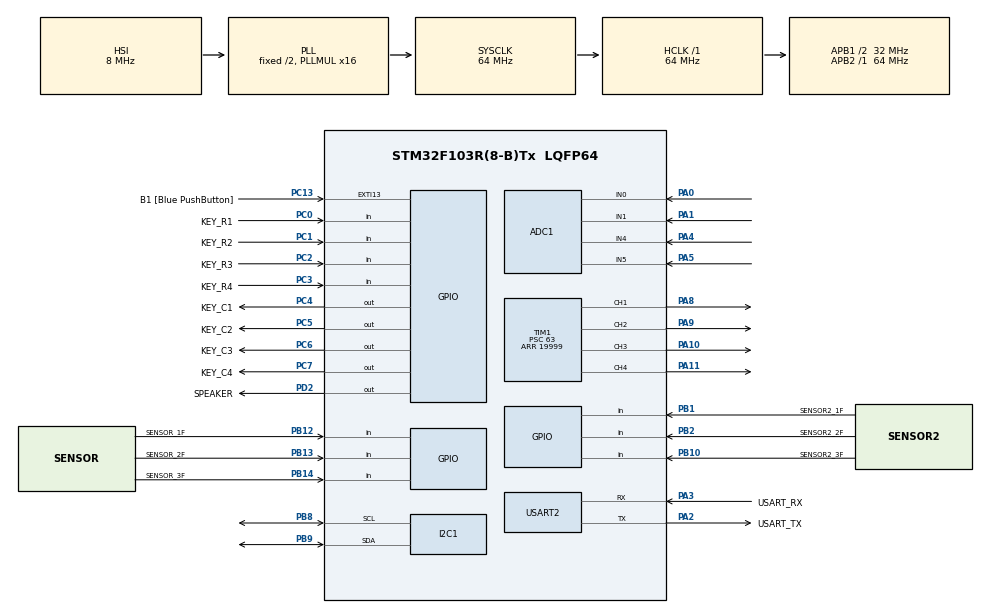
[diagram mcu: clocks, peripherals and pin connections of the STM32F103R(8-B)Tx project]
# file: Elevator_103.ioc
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ADC1.Channel-0\#ChannelRegularConversion=ADC_CHANNEL_0
ADC1.ContinuousConvMode=DISABLE
ADC1.NbrOfConversion=1
ADC1.NbrOfConversionFlag=1
ADC1.Rank-0\#ChannelRegularConversion=1
ADC1.SamplingTime-0\#ChannelRegularConversion=ADC_SAMPLETIME_1CYCLE_5
ADC1.master=1
Mcu.Family=STM32F1
Mcu.Name=STM32F103R(8-B)Tx
Mcu.Package=LQFP64
NVIC.EXTI15_10_IRQn=true\:0\:0\:false\:false\:true\:true\:true\:true
NVIC.PriorityGroup=NVIC_PRIORITYGROUP_4
PA0-WKUP.Signal=ADCx_IN0
PA1.Signal=ADCx_IN1
PA10.Signal=S_TIM1_CH3
PA11.Signal=S_TIM1_CH4
PA13.GPIO_Label=TMS
PA13.Mode=Serial_Wire
PA13.Signal=SYS_JTMS-SWDIO
PA14.GPIO_Label=TCK
PA14.Mode=Serial_Wire
PA14.Signal=SYS_JTCK-SWCLK
PA2.GPIO_Label=USART_TX
PA2.GPIO_Mode=GPIO_MODE_AF_PP
PA2.GPIO_PuPd=GPIO_NOPULL
PA2.GPIO_Speed=GPIO_SPEED_FREQ_LOW
PA2.Mode=Asynchronous
PA2.Signal=USART2_TX
PA3.GPIO_Label=USART_RX
PA3.GPIO_Mode=GPIO_MODE_AF_PP
PA3.GPIO_PuPd=GPIO_NOPULL
PA3.GPIO_Speed=GPIO_SPEED_FREQ_LOW
PA3.Mode=Asynchronous
PA3.Signal=USART2_RX
PA4.Signal=ADCx_IN4
PA5.Signal=ADCx_IN5
PA8.Signal=S_TIM1_CH1
PA9.Signal=S_TIM1_CH2
PB1.GPIO_Label=SENSOR2_1F
PB1.GPIO_PuPd=GPIO_PULLUP
PB1.Signal=GPIO_Input
PB10.GPIO_Label=SENSOR2_3F
PB10.GPIO_PuPd=GPIO_PULLUP
PB10.Signal=GPIO_Input
PB12.GPIO_Label=SENSOR_1F
PB12.GPIO_PuPd=GPIO_PULLUP
PB12.Signal=GPIO_Input
PB13.GPIO_Label=SENSOR_2F
PB13.GPIO_PuPd=GPIO_PULLUP
PB13.Signal=GPIO_Input
PB14.GPIO_Label=SENSOR_3F
PB14.GPIO_PuPd=GPIO_PULLUP
PB14.Signal=GPIO_Input
PB2.GPIO_Label=SENSOR2_2F
PB2.GPIO_PuPd=GPIO_PULLUP
PB2.Signal=GPIO_Input
PB3.GPIO_Label=SWO
PB3.Signal=SYS_JTDO-TRACESWO
PB8.Mode=I2C
PB8.Signal=I2C1_SCL
PB9.Mode=I2C
PB9.Signal=I2C1_SDA
PC0.GPIO_Label=KEY_R1
PC0.GPIO_PuPd=GPIO_PULLUP
PC0.Signal=GPIO_Input
PC1.GPIO_Label=KEY_R2
PC1.GPIO_PuPd=GPIO_PULLUP
PC1.Signal=GPIO_Input
PC13-TAMPER-RTC.GPIO_Label=B1 [Blue PushButton]
PC13-TAMPER-RTC.GPIO_PuPd=GPIO_NOPULL
PC13-TAMPER-RTC.Signal=GPXTI13
PC14-OSC32_IN.Mode=LSE-External-Oscillator
PC14-OSC32_IN.Signal=RCC_OSC32_IN
PC15-OSC32_OUT.Mode=LSE-External-Oscillator
PC15-OSC32_OUT.Signal=RCC_OSC32_OUT
PC2.GPIO_Label=KEY_R3
PC2.GPIO_PuPd=GPIO_PULLUP
PC2.Signal=GPIO_Input
PC3.GPIO_Label=KEY_R4
PC3.GPIO_PuPd=GPIO_PULLUP
PC3.Signal=GPIO_Input
PC4.GPIO_Label=KEY_C1
PC4.Signal=GPIO_Output
PC5.GPIO_Label=KEY_C2
PC5.Signal=GPIO_Output
PC6.GPIO_Label=KEY_C3
PC6.Signal=GPIO_Output
PC7.GPIO_Label=KEY_C4
PC7.Signal=GPIO_Output
PD0-OSC_IN.Mode=HSE-External-Clock-Source
PD0-OSC_IN.Signal=RCC_OSC_IN
PD1-OSC_OUT.Mode=HSE-External-Clock-Source
PD1-OSC_OUT.Signal=RCC_OSC_OUT
PD2.GPIO_Label=SPEAKER
PD2.Signal=GPIO_Output
ProjectManager.HeapSize=0x200
ProjectManager.StackSize=0x400
ProjectManager.TargetToolchain=STM32CubeIDE
RCC.ADCPresc=RCC_ADCPCLK2_DIV8
RCC.AHBFreq_Value=64000000
RCC.APB1CLKDivider=RCC_HCLK_DIV2
RCC.APB1Freq_Value=32000000
RCC.APB1TimFreq_Value=64000000
RCC.APB2Freq_Value=64000000
RCC.APB2TimFreq_Value=64000000
RCC.HCLKFreq_Value=64000000
RCC.PLLMUL=RCC_PLL_MUL16
RCC.RTCClockSelection=RCC_RTCCLKSOURCE_LSE
RCC.SYSCLKFreq_VALUE=64000000
RCC.SYSCLKSource=RCC_SYSCLKSOURCE_PLLCLK
RCC.USBFreq_Value=64000000
SH.ADCx_IN0.0=ADC1_IN0,IN0
SH.ADCx_IN1.0=ADC1_IN1,IN1
SH.ADCx_IN4.0=ADC1_IN4,IN4
SH.ADCx_IN5.0=ADC1_IN5,IN5
SH.S_TIM1_CH1.0=TIM1_CH1,PWM Generation1 CH1
SH.S_TIM1_CH2.0=TIM1_CH2,PWM Generation2 CH2
SH.S_TIM1_CH3.0=TIM1_CH3,PWM Generation3 CH3
SH.S_TIM1_CH4.0=TIM1_CH4,PWM Generation4 CH4
TIM1.Channel-PWM\ Generation1\ CH1=TIM_CHANNEL_1
TIM1.Channel-PWM\ Generation2\ CH2=TIM_CHANNEL_2
TIM1.Channel-PWM\ Generation3\ CH3=TIM_CHANNEL_3
TIM1.Channel-PWM\ Generation4\ CH4=TIM_CHANNEL_4
TIM1.Period=19999
TIM1.Prescaler=63
USART2.VirtualMode=VM_ASYNC
VP_TIM1_VS_ClockSourceINT.Mode=Internal
board=NUCLEO-F103RB

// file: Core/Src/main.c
/* USER CODE BEGIN Header */
/**
  ******************************************************************************
  * @file           : main.c
  * @brief          : Elevator System with LCD & Overload Protection (F103RB)
  ******************************************************************************
  */
/* USER CODE END Header */
#include "main.h"

/* USER CODE BEGIN Includes */
#include <string.h>
#include <stdio.h>
#include <stdbool.h>
#include <stdlib.h>
/* USER CODE END Includes */

/* USER CODE BEGIN PTD */
typedef enum {
    STATE_IDLE,
    STATE_MOVE_UP,
    STATE_MOVE_DOWN,
    STATE_DOOR_OPEN,
    STATE_DOOR_CLOSE
} ElevatorState_t;

// 엘리베이터 구조체 정의
typedef struct {
    int cur_floor;
    int current_dir;
    ElevatorState_t state;
    uint32_t door_open_time;
    uint32_t fsrValue;          // 과적 센서 (바닥)
    uint32_t doorPressure;      // 문 압력 센서
    bool is_overloaded;
    bool door_blocked;          // 문에 장애물 감지
    bool is_A;                  // true = A호기, false = B호기

    // 요청 배열
    int Call_Up[4];      // MAX_FLOOR + 1
    int Call_Down[4];
    int Call_In[4];

    // 디버그용 (실제 PWM 값)
    uint16_t motor_ccr;     // 현재 모터 PWM 값 (1360~1550)
    uint16_t servo_ccr;     // 현재 서보 PWM 값 (500~1500)
    int sensed_floor;       // 현재 감지된 층 (0=없음, 1~3=층)
    int target_floor;       // 목표 층
} Elevator_t;
/* USER CODE END PTD */

/* USER CODE BEGIN PD */
// --- LCD 설정 ---
#define LCD_ADDR (0x27 << 1) // I2C 주소 (안되면 0x3F << 1 로 변경)

// --- 과적 설정 ---
#define OVERLOAD_THRESHOLD 1000 // 0~4095 중 이 값 넘으면 과적 (조절 필요)
#define DOOR_PRESSURE_THRESHOLD 10 // 문 압력 임계값 (손가락 끼임 감지)

// --- A호기 센서 핀 (PB12, 13, 14) ---
#define SENSOR_1F_Pin GPIO_PIN_12
#define SENSOR_1F_GPIO_Port GPIOB
#define SENSOR_2F_Pin GPIO_PIN_13
#define SENSOR_2F_GPIO_Port GPIOB
#define SENSOR_3F_Pin GPIO_PIN_14
#define SENSOR_3F_GPIO_Port GPIOB

// --- B호기 센서 핀 (PB1, 2, 10) ---
#define SENSOR2_1F_Pin GPIO_PIN_1
#define SENSOR2_1F_GPIO_Port GPIOB
#define SENSOR2_2F_Pin GPIO_PIN_2
#define SENSOR2_2F_GPIO_Port GPIOB
#define SENSOR2_3F_Pin GPIO_PIN_10
#define SENSOR2_3F_GPIO_Port GPIOB

// --- 음계 ---
const int C4=262, G4=392, C5=523, E5=659, G5=784, C6=1047;

// --- 상수 ---
#define MAX_FLOOR 3
#define UP 1
#define DOWN -1
#define STOP 0
#define DOOR_WAIT_TIME 5000

// --- PWM (TIM1) ---
#define SERVO_0_DEG    1500    // 문 닫힘
#define SERVO_90_DEG   500     // 문 열림
#define SERVO_STEP     10      // 부드러운 이동을 위한 스텝 크기
#define SERVO_DELAY    20      // 각 스텝 사이 딜레이 (ms)
// --- 엘리베이터 모터 PWM 설정 (TIM1 Channel 1) ---
#define MOTOR_SPEED_UP   1550  // 상승 속도 (1500(slow)~2300(fast))
#define MOTOR_SPEED_DOWN 1400  // 하강 속도 (700(fast)~1500(slow))
#define MOTOR_STOP       1480     // 정지
/* USER CODE END PD */

ADC_HandleTypeDef hadc1;

I2C_HandleTypeDef hi2c1;

TIM_HandleTypeDef htim1;

UART_HandleTypeDef huart2;

/* USER CODE BEGIN PV */
// 엘리베이터 인스턴스
Elevator_t elevator_A;
Elevator_t elevator_B;
/* USER CODE END PV */

void SystemClock_Config(void);
static void MX_GPIO_Init(void);
static void MX_USART2_UART_Init(void);
static void MX_TIM1_Init(void);
static void MX_ADC1_Init(void);
static void MX_I2C1_Init(void);
/* USER CODE BEGIN PFP */
// LCD 함수
void LCD_Init(void);
void LCD_SendCommand(uint8_t cmd);
void LCD_SendData(uint8_t data);
void LCD_Print(char *str);
void LCD_SetCursor(uint8_t row, uint8_t col);
void Update_LCD_Status_Dual(Elevator_t *elev_A, Elevator_t *elev_B);

// 엘리베이터 초기화
void Init_Elevator_A(void);
void Init_Elevator_B(void);

// 엘리베이터 함수
void play_sound(int frequency, int duration);
void play_open_sound(void);
void emergency_sound(void);
void button_sound(void);
void arrive_sound(void);
void delay_us(uint16_t us);
void elevator_state_machine(Elevator_t *elev);
void process_keypad_input(void);
char scan_keypad(void);
bool Has_Requests_Above(Elevator_t *elev, int floor);
bool Has_Requests_Below(Elevator_t *elev, int floor);
void Motor_Drive(Elevator_t *elev, int direction);
void Motor_Stop(Elevator_t *elev);
void Door_Motor(Elevator_t *elev, int action);
bool Door_Motor_Smooth(Elevator_t *elev, int action);
int Check_Hall_Sensor(Elevator_t *elev);
Elevator_t* Find_Nearest_Elevator(int target_floor, int direction);
uint32_t Read_ADC_Channel(uint32_t channel);
/* USER CODE END PFP */

/* USER CODE BEGIN 0 */

// ADC 채널 하나씩 읽는 함수
uint32_t Read_ADC_Channel(uint32_t channel) {
    ADC_ChannelConfTypeDef sConfig = {0};

    // 채널 설정
    sConfig.Channel = channel;
    sConfig.Rank = ADC_REGULAR_RANK_1;
    sConfig.SamplingTime = ADC_SAMPLETIME_239CYCLES_5;

    if (HAL_ADC_ConfigChannel(&hadc1, &sConfig) != HAL_OK) {
        return 0;
    }

    // ADC 시작
    HAL_ADC_Start(&hadc1);

    // 변환 완료 대기 (최대 100ms)
    if (HAL_ADC_PollForConversion(&hadc1, 100) == HAL_OK) {
        uint32_t value = HAL_ADC_GetValue(&hadc1);
        HAL_ADC_Stop(&hadc1);
        return value;
    }

    HAL_ADC_Stop(&hadc1);
    return 0;
}

// --- LCD 구현 ---
void LCD_Write_Byte(uint8_t val, uint8_t mode) {
    uint8_t high_nibble = val & 0xF0;
    uint8_t low_nibble = (val << 4) & 0xF0;
    uint8_t rs_bit = mode ? 0x01 : 0x00;
    uint8_t backlight = 0x08;
    uint8_t data[4];

    data[0] = high_nibble | backlight | rs_bit | 0x04;
    data[1] = high_nibble | backlight | rs_bit | 0x00;
    data[2] = low_nibble  | backlight | rs_bit | 0x04;
    data[3] = low_nibble  | backlight | rs_bit | 0x00;

    HAL_I2C_Master_Transmit(&hi2c1, LCD_ADDR, data, 4, 10);
}
void LCD_SendCommand(uint8_t cmd) { LCD_Write_Byte(cmd, 0); }
void LCD_SendData(uint8_t data) { LCD_Write_Byte(data, 1); }
void LCD_Init(void) {
    HAL_Delay(50);
    LCD_SendCommand(0x30); HAL_Delay(5);
    LCD_SendCommand(0x30); HAL_Delay(1);
    LCD_SendCommand(0x30); HAL_Delay(1);
    LCD_SendCommand(0x20); HAL_Delay(1);
    LCD_SendCommand(0x28);
    LCD_SendCommand(0x08);
    LCD_SendCommand(0x01); HAL_Delay(2);
    LCD_SendCommand(0x06);
    LCD_SendCommand(0x0C);
}
void LCD_Print(char *str) { while (*str) LCD_SendData(*str++); }
void LCD_SetCursor(uint8_t row, uint8_t col) {
    uint8_t addr = (row == 0) ? 0x80 : 0xC0;
    LCD_SendCommand(addr + col);
}

// 엘리베이터 초기화 함수
void Init_Elevator_A(void) {
    elevator_A.cur_floor = 1;
    elevator_A.current_dir = STOP;
    elevator_A.state = STATE_IDLE;
    elevator_A.is_overloaded = false;
    elevator_A.door_blocked = false;
    elevator_A.is_A = true;  // A호기
    elevator_A.door_open_time = 0;
    elevator_A.fsrValue = 0;
    elevator_A.doorPressure = 0;

    // 디버그 초기화
    elevator_A.motor_ccr = MOTOR_STOP;
    elevator_A.servo_ccr = SERVO_0_DEG;
    elevator_A.sensed_floor = 0;
    elevator_A.target_floor = 0;

    memset(elevator_A.Call_Up, 0, sizeof(elevator_A.Call_Up));
    memset(elevator_A.Call_Down, 0, sizeof(elevator_A.Call_Down));
    memset(elevator_A.Call_In, 0, sizeof(elevator_A.Call_In));
}

void Init_Elevator_B(void) {
    elevator_B.cur_floor = 1;
    elevator_B.current_dir = STOP;
    elevator_B.state = STATE_IDLE;
    elevator_B.is_overloaded = false;
    elevator_B.door_blocked = false;
    elevator_B.is_A = false;  // B호기
    elevator_B.door_open_time = 0;
    elevator_B.fsrValue = 0;
    elevator_B.doorPressure = 0;

    // 디버그 초기화
    elevator_B.motor_ccr = MOTOR_STOP;
    elevator_B.servo_ccr = SERVO_0_DEG;
    elevator_B.sensed_floor = 0;
    elevator_B.target_floor = 0;

    memset(elevator_B.Call_Up, 0, sizeof(elevator_B.Call_Up));
    memset(elevator_B.Call_Down, 0, sizeof(elevator_B.Call_Down));
    memset(elevator_B.Call_In, 0, sizeof(elevator_B.Call_In));
}

// LCD 2대 동시 표시
void Update_LCD_Status_Dual(Elevator_t *elev_A, Elevator_t *elev_B) {
    static int prev_A_floor = -1, prev_B_floor = -1;
    static ElevatorState_t prev_A_state = STATE_IDLE, prev_B_state = STATE_IDLE;
    static bool prev_A_ovl = false, prev_B_ovl = false;

    if (elev_A->cur_floor != prev_A_floor || elev_A->state != prev_A_state ||
        elev_A->is_overloaded != prev_A_ovl ||
        elev_B->cur_floor != prev_B_floor || elev_B->state != prev_B_state ||
        elev_B->is_overloaded != prev_B_ovl) {

        char buf[17];

        // 1줄: A호기
        LCD_SetCursor(0, 0);
        if (elev_A->is_overloaded) {
            sprintf(buf, "A:%dF !!OVL!!   ", elev_A->cur_floor);
        } else {
            const char *state_A = (elev_A->state == STATE_MOVE_UP) ? "UP" :
                                   (elev_A->state == STATE_MOVE_DOWN) ? "DN" : "ST";
            sprintf(buf, "A:%dF %-3s       ", elev_A->cur_floor, state_A);
        }
        LCD_Print(buf);

        // 2줄: B호기
        LCD_SetCursor(1, 0);
        if (elev_B->is_overloaded) {
            sprintf(buf, "B:%dF !!OVL!!   ", elev_B->cur_floor);
        } else {
            const char *state_B = (elev_B->state == STATE_MOVE_UP) ? "UP" :
                                   (elev_B->state == STATE_MOVE_DOWN) ? "DN" : "ST";
            sprintf(buf, "B:%dF %-3s       ", elev_B->cur_floor, state_B);
        }
        LCD_Print(buf);

        prev_A_floor = elev_A->cur_floor;
        prev_A_state = elev_A->state;
        prev_A_ovl = elev_A->is_overloaded;
        prev_B_floor = elev_B->cur_floor;
        prev_B_state = elev_B->state;
        prev_B_ovl = elev_B->is_overloaded;
    }
}

// --- 엘리베이터 공통 함수 (구조체 포인터 사용) ---
int Check_Hall_Sensor(Elevator_t *elev) {
    if (elev->is_A) {
        // A호기: PB12, 13, 14
        if (HAL_GPIO_ReadPin(GPIOB, SENSOR_1F_Pin) == GPIO_PIN_RESET) return 1;
        if (HAL_GPIO_ReadPin(GPIOB, SENSOR_2F_Pin) == GPIO_PIN_RESET) return 2;
        if (HAL_GPIO_ReadPin(GPIOB, SENSOR_3F_Pin) == GPIO_PIN_RESET) return 3;
    } else {
        // B호기: PB1, 2, 10
        if (HAL_GPIO_ReadPin(GPIOB, SENSOR2_1F_Pin) == GPIO_PIN_RESET) return 1;
        if (HAL_GPIO_ReadPin(GPIOB, SENSOR2_2F_Pin) == GPIO_PIN_RESET) return 2;
        if (HAL_GPIO_ReadPin(GPIOB, SENSOR2_3F_Pin) == GPIO_PIN_RESET) return 3;
    }
    return 0;
}

bool Has_Requests_Above(Elevator_t *elev, int floor) {
    for (int i = floor + 1; i <= MAX_FLOOR; i++)
        if (elev->Call_Up[i] || elev->Call_Down[i] || elev->Call_In[i]) return true;
    return false;
}

bool Has_Requests_Below(Elevator_t *elev, int floor) {
    for (int i = floor - 1; i >= 1; i--)
        if (elev->Call_Up[i] || elev->Call_Down[i] || elev->Call_In[i]) return true;
    return false;
}

void Motor_Drive(Elevator_t *elev, int direction) {
    uint16_t speed = (direction == UP) ? MOTOR_SPEED_UP : MOTOR_SPEED_DOWN;
    elev->motor_ccr = speed;  // 디버그용 저장
    if (elev->is_A) {
        __HAL_TIM_SET_COMPARE(&htim1, TIM_CHANNEL_1, speed);  // A호기: CH1
    } else {
        __HAL_TIM_SET_COMPARE(&htim1, TIM_CHANNEL_3, speed);  // B호기: CH3
    }
}

void Motor_Stop(Elevator_t *elev) {
    elev->motor_ccr = MOTOR_STOP;  // 디버그용 저장
    if (elev->is_A) {
        __HAL_TIM_SET_COMPARE(&htim1, TIM_CHANNEL_1, MOTOR_STOP);
    } else {
        __HAL_TIM_SET_COMPARE(&htim1, TIM_CHANNEL_3, MOTOR_STOP);
    }
}

void Door_Motor(Elevator_t *elev, int action) {
    uint16_t pos = (action == 1) ? SERVO_90_DEG : SERVO_0_DEG;
    elev->servo_ccr = pos;  // 디버그용 저장
    if (elev->is_A) {
        __HAL_TIM_SET_COMPARE(&htim1, TIM_CHANNEL_2, pos);  // A호기: CH2
    } else {
        __HAL_TIM_SET_COMPARE(&htim1, TIM_CHANNEL_4, pos);  // B호기: CH4
    }
}

// 부드러운 문 동작 (압력 감지하면서 이동)
// return: true = 정상 완료, false = 압력 감지로 중단
bool Door_Motor_Smooth(Elevator_t *elev, int action) {
    uint16_t target_pos = (action == 1) ? SERVO_90_DEG : SERVO_0_DEG;  // 1=열림, 0=닫힘
    uint16_t current_pos = elev->servo_ccr;

    // 이동 방향 결정
    int step = (target_pos > current_pos) ? SERVO_STEP : -SERVO_STEP;

    // 천천히 이동하면서 압력 체크
    while (abs((int)current_pos - (int)target_pos) > SERVO_STEP) {
        current_pos += step;

        // 서보 위치 업데이트
        if (elev->is_A) {
            __HAL_TIM_SET_COMPARE(&htim1, TIM_CHANNEL_2, current_pos);  // A호기: CH2
        } else {
            __HAL_TIM_SET_COMPARE(&htim1, TIM_CHANNEL_4, current_pos);  // B호기: CH4
        }
        elev->servo_ccr = current_pos;

        HAL_Delay(SERVO_DELAY);

        // 문 닫는 중에만 압력 체크
        if (action == 0) {
            // ADC 값 실시간 업데이트
            elev->doorPressure = Read_ADC_Channel(
                elev->is_A ? ADC_CHANNEL_4 : ADC_CHANNEL_5
            );

            // 압력 감지 시 즉시 중단
            if (elev->doorPressure > DOOR_PRESSURE_THRESHOLD) {
                elev->door_blocked = true;
                return false;  // 압력 감지로 중단
            }
        }
    }

    // 최종 위치로 이동
    if (elev->is_A) {
        __HAL_TIM_SET_COMPARE(&htim1, TIM_CHANNEL_2, target_pos);
    } else {
        __HAL_TIM_SET_COMPARE(&htim1, TIM_CHANNEL_4, target_pos);
    }
    elev->servo_ccr = target_pos;

    return true;  // 정상 완료
}

void delay_us(uint16_t us) { volatile uint32_t i = us * 10; while(i--); }
void play_sound(int frequency, int duration) {
    if (frequency == 0) return;
    long period_us = 1000000 / frequency;
    long cycles = (long)((double)duration * 1000 / period_us);
    for (long i = 0; i < cycles; i++) {
        HAL_GPIO_WritePin(SPEAKER_GPIO_Port, SPEAKER_Pin, GPIO_PIN_SET);
        delay_us(period_us / 2);
        HAL_GPIO_WritePin(SPEAKER_GPIO_Port, SPEAKER_Pin, GPIO_PIN_RESET);
        delay_us(period_us / 2);
    }
}
void play_open_sound(void) { play_sound(G5, 120); play_sound(C6, 300); }
void emergency_sound(void) { play_sound(C4, 300); HAL_Delay(50); play_sound(C4, 300); }
void arrive_sound(void) { play_sound(C6, 300); HAL_Delay(50); play_sound(G5, 300); }
void button_sound(void) { play_sound(E5, 100); }

// 엘리베이터의 최종 목적지 계산 (현재 방향으로 가장 먼 요청)
int Get_Final_Destination(Elevator_t *elev) {
    int final_dest = elev->cur_floor;

    if (elev->current_dir == UP) {
        // 상승 중: 가장 높은 요청 찾기
        for (int i = MAX_FLOOR; i >= elev->cur_floor; i--) {
            if (elev->Call_Up[i] || elev->Call_Down[i] || elev->Call_In[i]) {
                final_dest = i;
                break;
            }
        }
    } else if (elev->current_dir == DOWN) {
        // 하강 중: 가장 낮은 요청 찾기
        for (int i = 1; i <= elev->cur_floor; i++) {
            if (elev->Call_Up[i] || elev->Call_Down[i] || elev->Call_In[i]) {
                final_dest = i;
                break;
            }
        }
    }
    return final_dest;
}

// 요청을 경유할 수 있는지 체크 (현재 이동 방향에서)
bool Can_Serve_On_Way(Elevator_t *elev, int target_floor, int req_direction) {
    if (elev->state == STATE_IDLE) return true;  // IDLE이면 어디든 가능

    // 상승 중인 엘리베이터
    if (elev->current_dir == UP) {
        // 현재 위치보다 위에 있고, UP 요청이면 경유 가능
        if (target_floor > elev->cur_floor && req_direction == UP) {
            return true;
        }
    }
    // 하강 중인 엘리베이터
    else if (elev->current_dir == DOWN) {
        // 현재 위치보다 아래에 있고, DOWN 요청이면 경유 가능
        if (target_floor < elev->cur_floor && req_direction == DOWN) {
            return true;
        }
    }
    return false;
}

// 요청까지의 실제 이동 거리 계산 (최종 목적지 경유 포함)
int Calculate_Real_Distance(Elevator_t *elev, int target_floor, int req_direction) {
    if (elev->state == STATE_IDLE) {
        // IDLE이면 직선 거리
        return abs(elev->cur_floor - target_floor);
    }

    // 경유 가능하면 직선 거리
    if (Can_Serve_On_Way(elev, target_floor, req_direction)) {
        return abs(elev->cur_floor - target_floor);
    }

    // 경유 불가능: 최종 목적지까지 갔다가 target까지
    int final_dest = Get_Final_Destination(elev);
    int dist_to_final = abs(elev->cur_floor - final_dest);
    int dist_final_to_target = abs(final_dest - target_floor);

    return dist_to_final + dist_final_to_target;
}

// 스마트 배차: 실제 이동 거리 기반 선택 (IDLE/MOVING 상관없이 동작)
Elevator_t* Find_Nearest_Elevator(int target_floor, int direction) {
    // 실제 이동 거리 비교 (경유 가능 여부 + 최종 목적지 고려)
    int dist_A = Calculate_Real_Distance(&elevator_A, target_floor, direction);
    int dist_B = Calculate_Real_Distance(&elevator_B, target_floor, direction);

    // 거리가 같으면 경유 가능한 쪽 우선
    if (dist_A == dist_B) {
        bool A_on_way = Can_Serve_On_Way(&elevator_A, target_floor, direction);
        bool B_on_way = Can_Serve_On_Way(&elevator_B, target_floor, direction);
        if (A_on_way && !B_on_way) return &elevator_A;
        if (B_on_way && !A_on_way) return &elevator_B;
    }

    return (dist_A <= dist_B) ? &elevator_A : &elevator_B;
}

char scan_keypad(void) {
    const char keymap[4][4] = { {'1', '2', '3', 'A'}, {'4', '5', '6', 'B'}, {'7', '8', '9', 'C'}, {'*', '0', '#', 'D'} };
    GPIO_TypeDef* col_ports[] = {KEY_C1_GPIO_Port, KEY_C2_GPIO_Port, KEY_C3_GPIO_Port, KEY_C4_GPIO_Port};
    uint16_t col_pins[] = {KEY_C1_Pin, KEY_C2_Pin, KEY_C3_Pin, KEY_C4_Pin};
    GPIO_TypeDef* row_ports[] = {KEY_R1_GPIO_Port, KEY_R2_GPIO_Port, KEY_R3_GPIO_Port, KEY_R4_GPIO_Port};
    uint16_t row_pins[] = {KEY_R1_Pin, KEY_R2_Pin, KEY_R3_Pin, KEY_R4_Pin};

    for(int c=0; c<4; c++) {
        HAL_GPIO_WritePin(col_ports[c], col_pins[c], GPIO_PIN_RESET);
        for(int r=0; r<4; r++) {
            if(HAL_GPIO_ReadPin(row_ports[r], row_pins[r]) == GPIO_PIN_RESET) {
                while(HAL_GPIO_ReadPin(row_ports[r], row_pins[r]) == GPIO_PIN_RESET);
                HAL_GPIO_WritePin(col_ports[c], col_pins[c], GPIO_PIN_SET);
                return keymap[r][c];
            }
        }
        HAL_GPIO_WritePin(col_ports[c], col_pins[c], GPIO_PIN_SET);
    }
    return 0;
}
void process_keypad_input(void) {
    char key = scan_keypad();
    if (key != 0) {
        button_sound();

        Elevator_t *nearest = NULL;
        switch(key) {
            // === [첫 열: 외부 호출 - 스마트 배차] ===
            case '1': // 외부 3층 Down
                nearest = Find_Nearest_Elevator(3, DOWN);
                nearest->Call_Down[3] = 1;
                break;
            case '4': // 외부 2층 Up
                nearest = Find_Nearest_Elevator(2, UP);
                nearest->Call_Up[2] = 1;
                break;
            case '7': // 외부 2층 Down
                nearest = Find_Nearest_Elevator(2, DOWN);
                nearest->Call_Down[2] = 1;
                break;
            case '*': // 외부 1층 Up
                nearest = Find_Nearest_Elevator(1, UP);
                nearest->Call_Up[1] = 1;
                break;

            // === [두번째 열: 1호기 내부] ===
            case '2': // 1호기 3층
                elevator_A.Call_In[3] = 1;
                break;
            case '5': // 1호기 2층
                elevator_A.Call_In[2] = 1;
                break;
            case '8': // 1호기 1층
                elevator_A.Call_In[1] = 1;
                break;
            case '0': // N/A
                break;

            // === [세번째 열: 2호기 내부] ===
            case '3': // 2호기 3층
                elevator_B.Call_In[3] = 1;
                break;
            case '6': // 2호기 2층
                elevator_B.Call_In[2] = 1;
                break;
            case '9': // 2호기 1층
                elevator_B.Call_In[1] = 1;
                break;
            case '#': // N/A
                break;

            // === [네번째 열: 문 제어] ===
            case 'A': // 1호기 문 닫힘
                if (elevator_A.state == STATE_DOOR_OPEN && !elevator_A.is_overloaded) {
                    elevator_A.state = STATE_DOOR_CLOSE;
                }
                break;
            case 'B': // 1호기 문 열림
                if (elevator_A.state == STATE_IDLE || elevator_A.state == STATE_DOOR_OPEN) {
                    elevator_A.state = STATE_DOOR_OPEN;
                    elevator_A.door_open_time = HAL_GetTick();
                    arrive_sound();
                }
                break;
            case 'C': // 2호기 문 닫힘
                if (elevator_B.state == STATE_DOOR_OPEN && !elevator_B.is_overloaded) {
                    elevator_B.state = STATE_DOOR_CLOSE;
                }
                break;
            case 'D': // 2호기 문 열림
                if (elevator_B.state == STATE_IDLE || elevator_B.state == STATE_DOOR_OPEN) {
                    elevator_B.state = STATE_DOOR_OPEN;
                    elevator_B.door_open_time = HAL_GetTick();
                    arrive_sound();
                }
                break;
            default:
                break;
        }

        HAL_Delay(200); // 디바운싱 TODO 이동 중 키 입력해서 홀센서 무시되면 수정
    }
}

// --- 상태 머신 (구조체 기반) ---
void elevator_state_machine(Elevator_t *elev) {
    // 센서 감지 상태 업데이트
    elev->sensed_floor = Check_Hall_Sensor(elev);

    // 목표층 계산 (가장 가까운 요청)
    elev->target_floor = 0;
    if (elev->current_dir == UP) {
        for (int i = elev->cur_floor; i <= MAX_FLOOR; i++) {
            if (elev->Call_Up[i] || elev->Call_Down[i] || elev->Call_In[i]) {
                elev->target_floor = i;
                break;
            }
        }
    } else if (elev->current_dir == DOWN) {
        for (int i = elev->cur_floor; i >= 1; i--) {
            if (elev->Call_Up[i] || elev->Call_Down[i] || elev->Call_In[i]) {
                elev->target_floor = i;
                break;
            }
        }
    }

    switch(elev->state) {
        case STATE_IDLE:
            if (elev->Call_Up[elev->cur_floor] || elev->Call_Down[elev->cur_floor] || elev->Call_In[elev->cur_floor]) {
                elev->Call_Up[elev->cur_floor] = 0;
                elev->Call_Down[elev->cur_floor] = 0;
                elev->Call_In[elev->cur_floor] = 0;
                elev->target_floor = elev->cur_floor;
                elev->state = STATE_DOOR_OPEN;
                elev->door_open_time = HAL_GetTick();
                arrive_sound();
            }
            else if (Has_Requests_Above(elev, elev->cur_floor)) {
                elev->current_dir = UP;
                elev->state = STATE_MOVE_UP;
            }
            else if (Has_Requests_Below(elev, elev->cur_floor)) {
                elev->current_dir = DOWN;
                elev->state = STATE_MOVE_DOWN;
            }
            break;

        case STATE_MOVE_UP:
            Motor_Drive(elev, UP);
            if (elev->cur_floor >= MAX_FLOOR) {
                Motor_Stop(elev);
                elev->cur_floor = MAX_FLOOR;
                elev->state = STATE_IDLE;
                emergency_sound();
                break;
            }

            // 홀센서 체크 (층이 바뀌었을 때만)
            if (elev->sensed_floor > 0 && elev->sensed_floor != elev->cur_floor) {
                elev->cur_floor = elev->sensed_floor;
                bool stop_flag = false;
                if (elev->Call_In[elev->cur_floor] || elev->Call_Up[elev->cur_floor] ||
                    (!Has_Requests_Above(elev, elev->cur_floor) && elev->Call_Down[elev->cur_floor]))
                    stop_flag = true;
                if (stop_flag) {
                    Motor_Stop(elev);
                    elev->Call_In[elev->cur_floor] = 0;
                    elev->Call_Up[elev->cur_floor] = 0;
                    if (!Has_Requests_Above(elev, elev->cur_floor)) {
                        elev->Call_Down[elev->cur_floor] = 0;
                        elev->current_dir = DOWN;
                    }
                    elev->target_floor = elev->cur_floor;
                    elev->state = STATE_DOOR_OPEN;
                    elev->door_open_time = HAL_GetTick();
                    arrive_sound();
                }
            }
            break;

        case STATE_MOVE_DOWN:
            Motor_Drive(elev, DOWN);
            if (elev->cur_floor <= 1) {
                Motor_Stop(elev);
                elev->cur_floor = 1;
                elev->state = STATE_IDLE;
                emergency_sound();
                break;
            }
            if (elev->sensed_floor > 0 && elev->sensed_floor != elev->cur_floor) {
                elev->cur_floor = elev->sensed_floor;
                bool stop_flag = false;
                if (elev->Call_In[elev->cur_floor] || elev->Call_Down[elev->cur_floor] ||
                    (!Has_Requests_Below(elev, elev->cur_floor) && elev->Call_Up[elev->cur_floor]))
                    stop_flag = true;
                if (stop_flag) {
                    Motor_Stop(elev);
                    elev->Call_In[elev->cur_floor] = 0;
                    elev->Call_Down[elev->cur_floor] = 0;
                    if (!Has_Requests_Below(elev, elev->cur_floor)) {
                        elev->Call_Up[elev->cur_floor] = 0;
                        elev->current_dir = UP;
                    }
                    elev->target_floor = elev->cur_floor;
                    elev->state = STATE_DOOR_OPEN;
                    elev->door_open_time = HAL_GetTick();
                    arrive_sound();
                }
            }
            break;

        case STATE_DOOR_OPEN:
            Door_Motor_Smooth(elev, 1);  // 부드럽게 열기

            // 과적 감지
            if (elev->fsrValue > OVERLOAD_THRESHOLD) {
                elev->is_overloaded = true;
                elev->door_open_time = HAL_GetTick();
                emergency_sound();
            } else {
                elev->is_overloaded = false;
            }

            if (!elev->is_overloaded && (HAL_GetTick() - elev->door_open_time >= DOOR_WAIT_TIME)) {
                elev->state = STATE_DOOR_CLOSE;
            }
            break;

        case STATE_DOOR_CLOSE:
            // 부드럽게 닫으면서 압력 감지
            if (!Door_Motor_Smooth(elev, 0)) {
                // 압력 감지로 중단됨 (Door_Motor_Smooth가 false 반환)
                elev->door_blocked = true;
                elev->state = STATE_DOOR_OPEN;
                elev->door_open_time = HAL_GetTick();
                emergency_sound();  // 경고음
                break;
            }

            // 문이 정상적으로 닫혔음
            elev->door_blocked = false;

            // 현재 층에 새 요청 발생 시 문 다시 열기
            if (elev->Call_In[elev->cur_floor] || elev->Call_Up[elev->cur_floor] || elev->Call_Down[elev->cur_floor]) {
                elev->Call_In[elev->cur_floor] = 0;
                elev->Call_Up[elev->cur_floor] = 0;
                elev->Call_Down[elev->cur_floor] = 0;
                elev->state = STATE_DOOR_OPEN;
                elev->door_open_time = HAL_GetTick();
                break;
            }

            // 다음 동작 결정
            if (elev->current_dir == UP) {
                if (Has_Requests_Above(elev, elev->cur_floor)) elev->state = STATE_MOVE_UP;
                else if (Has_Requests_Below(elev, elev->cur_floor)) {
                    elev->current_dir = DOWN;
                    elev->state = STATE_MOVE_DOWN;
                }
                else { elev->current_dir = STOP; elev->state = STATE_IDLE; }
            }
            else if (elev->current_dir == DOWN) {
                if (Has_Requests_Below(elev, elev->cur_floor)) elev->state = STATE_MOVE_DOWN;
                else if (Has_Requests_Above(elev, elev->cur_floor)) {
                    elev->current_dir = UP;
                    elev->state = STATE_MOVE_UP;
                }
                else { elev->current_dir = STOP; elev->state = STATE_IDLE; }
            }
            else {
                if (Has_Requests_Above(elev, elev->cur_floor)) {
                    elev->current_dir = UP;
                    elev->state = STATE_MOVE_UP;
                }
                else if (Has_Requests_Below(elev, elev->cur_floor)) {
                    elev->current_dir = DOWN;
                    elev->state = STATE_MOVE_DOWN;
                }
                else elev->state = STATE_IDLE;
            }
            break;
    }
}
/* USER CODE END 0 */

int main(void)
{

  /* MCU Configuration--------------------------------------------------------*/

  /* Reset of all peripherals, Initializes the Flash interface and the Systick. */
  HAL_Init();

  /* Configure the system clock */
  SystemClock_Config();

  /* Initialize all configured peripherals */
  MX_GPIO_Init();
  MX_USART2_UART_Init();
  MX_TIM1_Init();
  MX_ADC1_Init();
  MX_I2C1_Init();
  /* USER CODE BEGIN 2 */
  // PWM 시작 (4채널 모두)
  HAL_TIM_PWM_Start(&htim1, TIM_CHANNEL_1); // A호기 모터
  HAL_TIM_PWM_Start(&htim1, TIM_CHANNEL_2); // A호기 서보
  HAL_TIM_PWM_Start(&htim1, TIM_CHANNEL_3); // B호기 모터
  HAL_TIM_PWM_Start(&htim1, TIM_CHANNEL_4); // B호기 서보

  // ADC Calibration
  HAL_ADCEx_Calibration_Start(&hadc1);

  LCD_Init();
  LCD_SetCursor(0, 0);
  LCD_Print("Dual Elevator");
  HAL_Delay(1000);

  // 엘리베이터 초기화
  Init_Elevator_A();
  Init_Elevator_B();

  // 초기 PWM 설정
  __HAL_TIM_SET_COMPARE(&htim1, TIM_CHANNEL_1, MOTOR_STOP);
  __HAL_TIM_SET_COMPARE(&htim1, TIM_CHANNEL_2, SERVO_0_DEG);
  __HAL_TIM_SET_COMPARE(&htim1, TIM_CHANNEL_3, MOTOR_STOP);
  __HAL_TIM_SET_COMPARE(&htim1, TIM_CHANNEL_4, SERVO_0_DEG);
  /* USER CODE END 2 */

  /* Infinite loop */
  /* USER CODE BEGIN WHILE */
  while (1)
  {
    // 1. ADC 채널 하나씩 읽기 (각 채널을 순차적으로)
    elevator_A.fsrValue = Read_ADC_Channel(ADC_CHANNEL_0);      // ADC1_IN0 (PA0)
    elevator_B.fsrValue = Read_ADC_Channel(ADC_CHANNEL_1);      // ADC1_IN1 (PA1)
    elevator_A.doorPressure = Read_ADC_Channel(ADC_CHANNEL_4);  // ADC1_IN4 (PA4)
    elevator_B.doorPressure = Read_ADC_Channel(ADC_CHANNEL_5);  // ADC1_IN5 (PA5)

    // 2. LCD 갱신 (2대 동시)
    Update_LCD_Status_Dual(&elevator_A, &elevator_B);

    // 3. 키패드 입력 처리
    process_keypad_input();

    // 4. 두 엘리베이터 상태머신 실행
    elevator_state_machine(&elevator_A);
    elevator_state_machine(&elevator_B);

    HAL_Delay(10);
    /* USER CODE END WHILE */

  }
}

void SystemClock_Config(void)
{
  RCC_OscInitTypeDef RCC_OscInitStruct = {0};
  RCC_ClkInitTypeDef RCC_ClkInitStruct = {0};
  RCC_PeriphCLKInitTypeDef PeriphClkInit = {0};

  /** Initializes the RCC Oscillators according to the specified parameters
  * in the RCC_OscInitTypeDef structure.
  */
  RCC_OscInitStruct.OscillatorType = RCC_OSCILLATORTYPE_HSI;
  RCC_OscInitStruct.HSIState = RCC_HSI_ON;
  RCC_OscInitStruct.HSICalibrationValue = RCC_HSICALIBRATION_DEFAULT;
  RCC_OscInitStruct.PLL.PLLState = RCC_PLL_ON;
  RCC_OscInitStruct.PLL.PLLSource = RCC_PLLSOURCE_HSI_DIV2;
  RCC_OscInitStruct.PLL.PLLMUL = RCC_PLL_MUL16;
  if (HAL_RCC_OscConfig(&RCC_OscInitStruct) != HAL_OK)
  {
    Error_Handler();
  }

  /** Initializes the CPU, AHB and APB buses clocks
  */
  RCC_ClkInitStruct.ClockType = RCC_CLOCKTYPE_HCLK|RCC_CLOCKTYPE_SYSCLK
                              |RCC_CLOCKTYPE_PCLK1|RCC_CLOCKTYPE_PCLK2;
  RCC_ClkInitStruct.SYSCLKSource = RCC_SYSCLKSOURCE_PLLCLK;
  RCC_ClkInitStruct.AHBCLKDivider = RCC_SYSCLK_DIV1;
  RCC_ClkInitStruct.APB1CLKDivider = RCC_HCLK_DIV2;
  RCC_ClkInitStruct.APB2CLKDivider = RCC_HCLK_DIV1;

  if (HAL_RCC_ClockConfig(&RCC_ClkInitStruct, FLASH_LATENCY_2) != HAL_OK)
  {
    Error_Handler();
  }
  PeriphClkInit.PeriphClockSelection = RCC_PERIPHCLK_ADC;
  PeriphClkInit.AdcClockSelection = RCC_ADCPCLK2_DIV8;
  if (HAL_RCCEx_PeriphCLKConfig(&PeriphClkInit) != HAL_OK)
  {
    Error_Handler();
  }
}

static void MX_ADC1_Init(void)
{

  ADC_ChannelConfTypeDef sConfig = {0};

  /** Common config
  */
  hadc1.Instance = ADC1;
  hadc1.Init.ScanConvMode = ADC_SCAN_DISABLE;
  hadc1.Init.ContinuousConvMode = DISABLE;
  hadc1.Init.DiscontinuousConvMode = DISABLE;
  hadc1.Init.ExternalTrigConv = ADC_SOFTWARE_START;
  hadc1.Init.DataAlign = ADC_DATAALIGN_RIGHT;
  hadc1.Init.NbrOfConversion = 1;
  if (HAL_ADC_Init(&hadc1) != HAL_OK)
  {
    Error_Handler();
  }

  /** Configure Regular Channel
  */
  sConfig.Channel = ADC_CHANNEL_0;
  sConfig.Rank = ADC_REGULAR_RANK_1;
  sConfig.SamplingTime = ADC_SAMPLETIME_1CYCLE_5;
  if (HAL_ADC_ConfigChannel(&hadc1, &sConfig) != HAL_OK)
  {
    Error_Handler();
  }

}

static void MX_I2C1_Init(void)
{

  hi2c1.Instance = I2C1;
  hi2c1.Init.ClockSpeed = 100000;
  hi2c1.Init.DutyCycle = I2C_DUTYCYCLE_2;
  hi2c1.Init.OwnAddress1 = 0;
  hi2c1.Init.AddressingMode = I2C_ADDRESSINGMODE_7BIT;
  hi2c1.Init.DualAddressMode = I2C_DUALADDRESS_DISABLE;
  hi2c1.Init.OwnAddress2 = 0;
  hi2c1.Init.GeneralCallMode = I2C_GENERALCALL_DISABLE;
  hi2c1.Init.NoStretchMode = I2C_NOSTRETCH_DISABLE;
  if (HAL_I2C_Init(&hi2c1) != HAL_OK)
  {
    Error_Handler();
  }

}

static void MX_TIM1_Init(void)
{

  TIM_ClockConfigTypeDef sClockSourceConfig = {0};
  TIM_MasterConfigTypeDef sMasterConfig = {0};
  TIM_OC_InitTypeDef sConfigOC = {0};
  TIM_BreakDeadTimeConfigTypeDef sBreakDeadTimeConfig = {0};

  htim1.Instance = TIM1;
  htim1.Init.Prescaler = 63;
  htim1.Init.CounterMode = TIM_COUNTERMODE_UP;
  htim1.Init.Period = 19999;
  htim1.Init.ClockDivision = TIM_CLOCKDIVISION_DIV1;
  htim1.Init.RepetitionCounter = 0;
  htim1.Init.AutoReloadPreload = TIM_AUTORELOAD_PRELOAD_DISABLE;
  if (HAL_TIM_Base_Init(&htim1) != HAL_OK)
  {
    Error_Handler();
  }
  sClockSourceConfig.ClockSource = TIM_CLOCKSOURCE_INTERNAL;
  if (HAL_TIM_ConfigClockSource(&htim1, &sClockSourceConfig) != HAL_OK)
  {
    Error_Handler();
  }
  if (HAL_TIM_PWM_Init(&htim1) != HAL_OK)
  {
    Error_Handler();
  }
  sMasterConfig.MasterOutputTrigger = TIM_TRGO_RESET;
  sMasterConfig.MasterSlaveMode = TIM_MASTERSLAVEMODE_DISABLE;
  if (HAL_TIMEx_MasterConfigSynchronization(&htim1, &sMasterConfig) != HAL_OK)
  {
    Error_Handler();
  }
  sConfigOC.OCMode = TIM_OCMODE_PWM1;
  sConfigOC.Pulse = 0;
  sConfigOC.OCPolarity = TIM_OCPOLARITY_HIGH;
  sConfigOC.OCNPolarity = TIM_OCNPOLARITY_HIGH;
  sConfigOC.OCFastMode = TIM_OCFAST_DISABLE;
  sConfigOC.OCIdleState = TIM_OCIDLESTATE_RESET;
  sConfigOC.OCNIdleState = TIM_OCNIDLESTATE_RESET;
  if (HAL_TIM_PWM_ConfigChannel(&htim1, &sConfigOC, TIM_CHANNEL_1) != HAL_OK)
  {
    Error_Handler();
  }
  if (HAL_TIM_PWM_ConfigChannel(&htim1, &sConfigOC, TIM_CHANNEL_2) != HAL_OK)
  {
    Error_Handler();
  }
  if (HAL_TIM_PWM_ConfigChannel(&htim1, &sConfigOC, TIM_CHANNEL_3) != HAL_OK)
  {
    Error_Handler();
  }
  if (HAL_TIM_PWM_ConfigChannel(&htim1, &sConfigOC, TIM_CHANNEL_4) != HAL_OK)
  {
    Error_Handler();
  }
  sBreakDeadTimeConfig.OffStateRunMode = TIM_OSSR_DISABLE;
  sBreakDeadTimeConfig.OffStateIDLEMode = TIM_OSSI_DISABLE;
  sBreakDeadTimeConfig.LockLevel = TIM_LOCKLEVEL_OFF;
  sBreakDeadTimeConfig.DeadTime = 0;
  sBreakDeadTimeConfig.BreakState = TIM_BREAK_DISABLE;
  sBreakDeadTimeConfig.BreakPolarity = TIM_BREAKPOLARITY_HIGH;
  sBreakDeadTimeConfig.AutomaticOutput = TIM_AUTOMATICOUTPUT_DISABLE;
  if (HAL_TIMEx_ConfigBreakDeadTime(&htim1, &sBreakDeadTimeConfig) != HAL_OK)
  {
    Error_Handler();
  }
  HAL_TIM_MspPostInit(&htim1);

}

static void MX_USART2_UART_Init(void)
{

  huart2.Instance = USART2;
  huart2.Init.BaudRate = 115200;
  huart2.Init.WordLength = UART_WORDLENGTH_8B;
  huart2.Init.StopBits = UART_STOPBITS_1;
  huart2.Init.Parity = UART_PARITY_NONE;
  huart2.Init.Mode = UART_MODE_TX_RX;
  huart2.Init.HwFlowCtl = UART_HWCONTROL_NONE;
  huart2.Init.OverSampling = UART_OVERSAMPLING_16;
  if (HAL_UART_Init(&huart2) != HAL_OK)
  {
    Error_Handler();
  }

}

static void MX_GPIO_Init(void)
{
  GPIO_InitTypeDef GPIO_InitStruct = {0};

  /* GPIO Ports Clock Enable */
  __HAL_RCC_GPIOC_CLK_ENABLE();
  __HAL_RCC_GPIOD_CLK_ENABLE();
  __HAL_RCC_GPIOA_CLK_ENABLE();
  __HAL_RCC_GPIOB_CLK_ENABLE();

  /*Configure GPIO pin Output Level */
  HAL_GPIO_WritePin(GPIOC, KEY_C1_Pin|KEY_C2_Pin|KEY_C3_Pin|KEY_C4_Pin, GPIO_PIN_RESET);

  /*Configure GPIO pin Output Level */
  HAL_GPIO_WritePin(SPEAKER_GPIO_Port, SPEAKER_Pin, GPIO_PIN_RESET);

  /*Configure GPIO pin : B1_Pin */
  GPIO_InitStruct.Pin = B1_Pin;
  GPIO_InitStruct.Mode = GPIO_MODE_IT_RISING;
  GPIO_InitStruct.Pull = GPIO_NOPULL;
  HAL_GPIO_Init(B1_GPIO_Port, &GPIO_InitStruct);

  /*Configure GPIO pins : KEY_R1_Pin KEY_R2_Pin KEY_R3_Pin KEY_R4_Pin */
  GPIO_InitStruct.Pin = KEY_R1_Pin|KEY_R2_Pin|KEY_R3_Pin|KEY_R4_Pin;
  GPIO_InitStruct.Mode = GPIO_MODE_INPUT;
  GPIO_InitStruct.Pull = GPIO_PULLUP;
  HAL_GPIO_Init(GPIOC, &GPIO_InitStruct);

  /*Configure GPIO pins : KEY_C1_Pin KEY_C2_Pin KEY_C3_Pin KEY_C4_Pin */
  GPIO_InitStruct.Pin = KEY_C1_Pin|KEY_C2_Pin|KEY_C3_Pin|KEY_C4_Pin;
  GPIO_InitStruct.Mode = GPIO_MODE_OUTPUT_PP;
  GPIO_InitStruct.Pull = GPIO_NOPULL;
  GPIO_InitStruct.Speed = GPIO_SPEED_FREQ_LOW;
  HAL_GPIO_Init(GPIOC, &GPIO_InitStruct);

  /*Configure GPIO pins : SENSOR2_1F_Pin SENSOR2_2F_Pin SENSOR2_3F_Pin SENSOR_1F_Pin
                           SENSOR_2F_Pin SENSOR_3F_Pin */
  GPIO_InitStruct.Pin = SENSOR2_1F_Pin|SENSOR2_2F_Pin|SENSOR2_3F_Pin|SENSOR_1F_Pin
                          |SENSOR_2F_Pin|SENSOR_3F_Pin;
  GPIO_InitStruct.Mode = GPIO_MODE_INPUT;
  GPIO_InitStruct.Pull = GPIO_PULLUP;
  HAL_GPIO_Init(GPIOB, &GPIO_InitStruct);

  /*Configure GPIO pin : SPEAKER_Pin */
  GPIO_InitStruct.Pin = SPEAKER_Pin;
  GPIO_InitStruct.Mode = GPIO_MODE_OUTPUT_PP;
  GPIO_InitStruct.Pull = GPIO_NOPULL;
  GPIO_InitStruct.Speed = GPIO_SPEED_FREQ_LOW;
  HAL_GPIO_Init(SPEAKER_GPIO_Port, &GPIO_InitStruct);

  /* EXTI interrupt init*/
  HAL_NVIC_SetPriority(EXTI15_10_IRQn, 0, 0);
  HAL_NVIC_EnableIRQ(EXTI15_10_IRQn);

}

void Error_Handler(void)
{
  __disable_irq();
  while (1)
  {
  }
}
